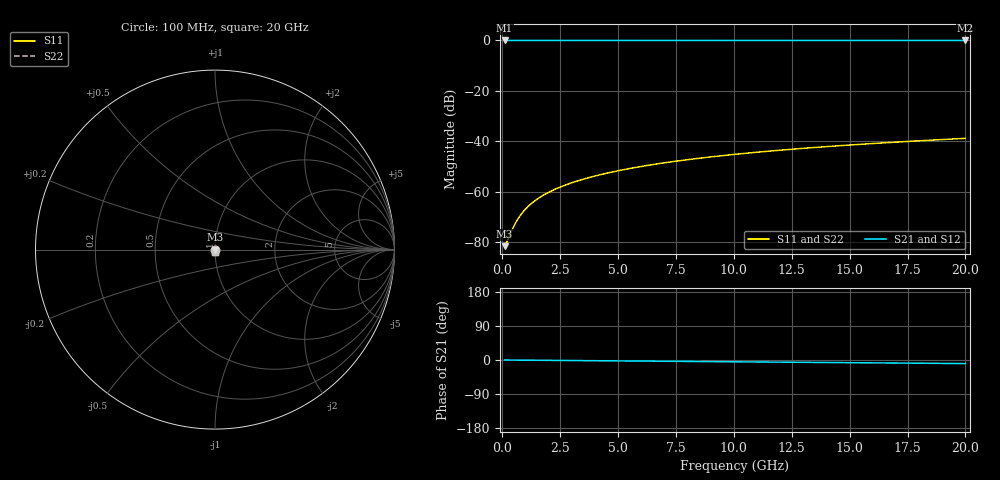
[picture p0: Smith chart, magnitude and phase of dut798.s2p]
! Touchstone file exported from HFSS 2026.1.0
!  File:  C:/ffzhzh/LocalFiles/Ansys_Project_Files/temp_train_TSV_798_1783184020_51560.aedt
!  Generated:  12:55:01 AM Jul  5, 2026
!  Design:  TSV
!  Project:  temp_train_TSV_798_1783184020_51560
! Variables:
!  h_bsmrdl = 2um
!  h_ox = 20um
!  h_rdl = 5um
!  h_sub = 94.62um
!  h_tmrdl = 5um
!  h_tsv = 94.62um
!  h_via = 3um
!  l_bsmrdl = 300um
!  l_sub = 429.08um
!  l_tmrdl = 200um
!  m_sub = 200um
!  pitch = 54.21um
!  r_tsv = 14.54um
!  s_tmrdl = 10um
!  w_bsmrdl = 18um
!  w_sub = 500um
!  w_tmrdl = 12um
!  x_tsv_center1 = 206um
!  x_tsv_center2 = 524um
!  x_tsv_center3 = 736um
!  x_tsv_center4 = 1054um
!  x_tsv_center5 = 1266um
!  x_tsv_center6 = 1584um
# GHz S MA R 50.000000
! Terminal data exported
! Port[1] = TSV1_1_T1
! Port[2] = TSV1_1_T2
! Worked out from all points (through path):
!   200 points, 100 MHz to 20 GHz, reference 50 ohm
!   highest |S21| = 0.00 dB at 100 MHz (marker M1); lowest = 0.0 dB at 20 GHz (marker M2)
!   group delay of S21, straight-line fit = 1.3 ps
!   lowest |S11| = -81.5 dB at 100 MHz (marker M3), VSWR 1.00, Z = 50 - j0.000978 ohm
!   |S11| at or under -10 dB: start of sweep to end of sweep
!   |S22| runs from -81.5 to -38.8 dB; largest |S21 - S12| = 2.3e-15
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0.1  8.42e-05 -6.7  0.9999 -0.0  0.9999 -0.0  8.42e-05 -6.7
! Gamma 0 0 0 0
! Port Impedance 50 0 50 0
0.2  0.0001026 -13.6  0.9999 -0.1  0.9999 -0.1  0.0001026 -13.6
0.4  0.0001676 -27.1  0.9999 -0.2  0.9999 -0.2  0.0001675 -27.1
0.5  0.0002096 -33.0  0.9998 -0.2  0.9998 -0.2  0.0002096 -33.0
0.6  0.0002554 -38.2  0.9998 -0.3  0.9998 -0.3  0.0002554 -38.2
0.8  0.0003538 -46.6  0.9998 -0.4  0.9998 -0.4  0.0003538 -46.6
1  0.0004563 -52.9  0.9997 -0.5  0.9997 -0.5  0.0004563 -52.9
1.3  0.0006128 -59.7  0.9997 -0.6  0.9997 -0.6  0.0006128 -59.7
1.7  0.0008229 -65.5  0.9996 -0.8  0.9996 -0.8  0.0008229 -65.5
2.2  0.001087 -70.2  0.9996 -1.0  0.9996 -1.0  0.001087 -70.2
2.8  0.001408 -73.7  0.9996 -1.3  0.9996 -1.3  0.001408 -73.7
3.5  0.001788 -76.3  0.9995 -1.7  0.9995 -1.7  0.001788 -76.3
4.2  0.002174 -78.3  0.9995 -2.0  0.9995 -2.0  0.002174 -78.2
5  0.002623 -79.9  0.9994 -2.4  0.9994 -2.4  0.002623 -79.9
5.9  0.003136 -81.4  0.9994 -2.8  0.9994 -2.8  0.003136 -81.4
6.8  0.003654 -82.7  0.9993 -3.2  0.9993 -3.2  0.003654 -82.7
8.3  0.004527 -84.6  0.9993 -3.9  0.9993 -3.9  0.004527 -84.6
10.1  0.005584 -86.4  0.9992 -4.8  0.9992 -4.8  0.005584 -86.4
11.7  0.006529 -87.9  0.9991 -5.5  0.9991 -5.5  0.006529 -87.9
13.4  0.007538 -89.3  0.999 -6.3  0.999 -6.3  0.007538 -89.3
16.7  0.009512 -91.6  0.9989 -7.9  0.9989 -7.9  0.009513 -91.6
20  0.01151 -93.7  0.9988 -9.4  0.9988 -9.4  0.01151 -93.7
